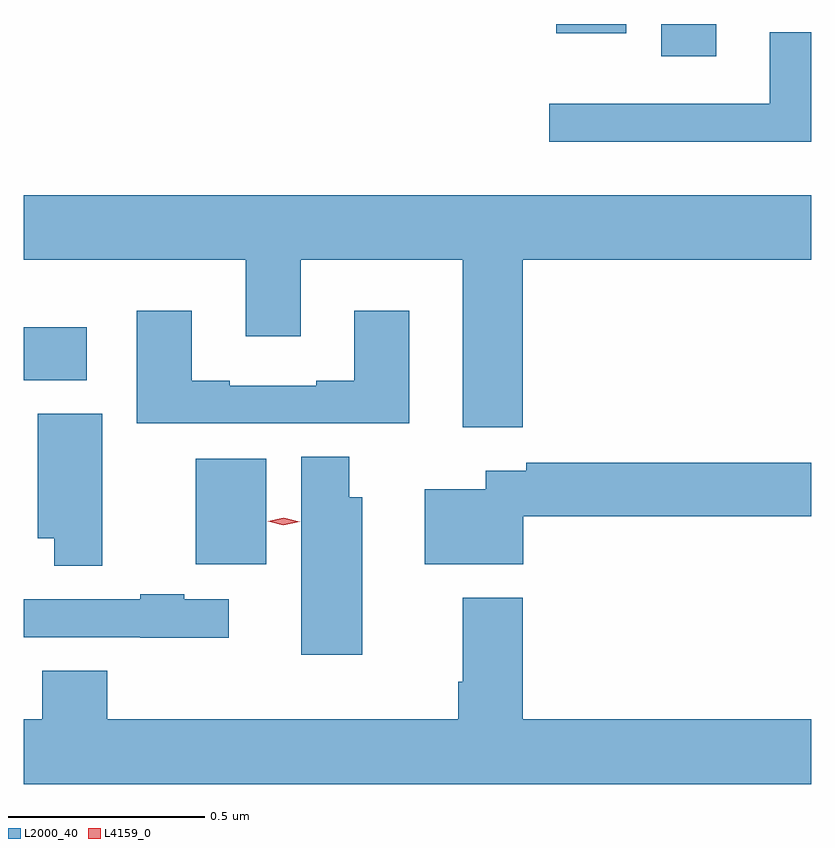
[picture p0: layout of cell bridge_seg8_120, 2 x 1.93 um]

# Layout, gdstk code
import gdstk
lib = gdstk.Library(unit=1e-6, precision=1e-09)
def R(c, l, rs):  # rectangles x0, y0, x1, y1
    for r in rs: c.add(gdstk.rectangle(r[:2], r[2:], *l))
def P(c, l, *ps):  # polygons
    for p in ps: c.add(gdstk.Polygon(p, *l))
L2000_40 = (2000, 40)
L4159_0 = (4159, 0)

bridge_seg8_120 = lib.new_cell('bridge_seg8_120')
R(bridge_seg8_120, L2000_40, [(843.305,1145.03,843.484,1145.299), (842.868,1145.498,843.028,1145.632), (844.487,1146.321,844.627,1146.403), (844.22,1146.38,844.399,1146.403)])
P(bridge_seg8_120, L2000_40, [(844.868,1146.382),(844.763,1146.382),(844.763,1146.201),(844.203,1146.201),(844.203,1146.104),(844.868,1146.104)],
  [(844.136,1145.804),(844.868,1145.804),(844.868,1145.968),(842.868,1145.968),(842.868,1145.804),(843.431,1145.804),(843.431,1145.61),(843.571,1145.61),(843.571,1145.804),(843.983,1145.804),(843.983,1145.379),(844.136,1145.379)],
  [(843.847,1145.674),(843.707,1145.674),(843.707,1145.497),(843.611,1145.497),(843.611,1145.484),(843.391,1145.484),(843.391,1145.497),(843.295,1145.497),(843.295,1145.674),(843.155,1145.674),(843.155,1145.388),(843.847,1145.388)],
  [(843.067,1145.413),(842.903,1145.413),(842.903,1145.096),(842.945,1145.096),(842.945,1145.026),(843.067,1145.026)],
  [(843.727,1145.2),(843.694,1145.2),(843.694,1145.303),(843.572,1145.303),(843.572,1144.8),(843.727,1144.8)],
  [(844.137,1145.152),(844.868,1145.152),(844.868,1145.288),(844.144,1145.288),(844.144,1145.268),(844.041,1145.268),(844.041,1145.221),(843.887,1145.221),(843.887,1145.03),(844.137,1145.03)],
  [(843.388,1144.941),(843.275,1144.941),(843.275,1144.954),(843.163,1144.954),(843.163,1144.941),(842.868,1144.941),(842.868,1144.845),(843.163,1144.845),(843.163,1144.844),(843.388,1144.844)],
  [(844.868,1144.636),(844.136,1144.636),(844.136,1144.945),(843.983,1144.945),(843.983,1144.732),(843.971,1144.732),(843.971,1144.636),(843.08,1144.636),(843.08,1144.76),(842.915,1144.76),(842.915,1144.636),(842.868,1144.636),(842.868,1144.472),(844.868,1144.472)])
P(bridge_seg8_120, L4159_0, [(843.527,1145.129),(843.487,1145.14),(843.487,1145.14),(843.487,1145.14),(843.528,1145.149),(843.569,1145.138),(843.569,1145.138),(843.569,1145.138)])

lib.write_gds('bridge_seg8_120.gds')
